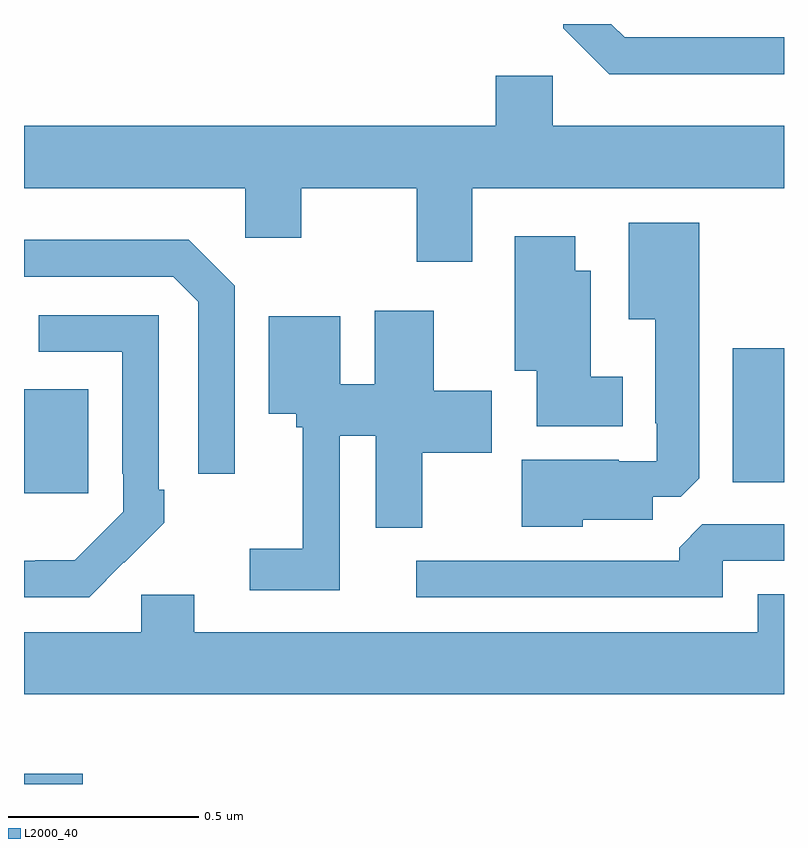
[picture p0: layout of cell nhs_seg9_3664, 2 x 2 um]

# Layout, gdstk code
import gdstk
lib = gdstk.Library(unit=1e-6, precision=1e-09)
def R(c, l, rs):  # rectangles x0, y0, x1, y1
    for r in rs: c.add(gdstk.rectangle(r[:2], r[2:], *l))
def P(c, l, *ps):  # polygons
    for p in ps: c.add(gdstk.Polygon(p, *l))
L2000_40 = (2000, 40)

nhs_seg9_3664 = lib.new_cell('nhs_seg9_3664')
R(nhs_seg9_3664, L2000_40, [(156,1213.5,156.154,1213.527), (156,1214.265,156.169,1214.539), (157.865,1214.294,158,1214.647)])
P(nhs_seg9_3664, L2000_40, [(158,1215.465),(157.581,1215.465),(157.546,1215.5),(157.419,1215.5),(157.419,1215.489),(157.54,1215.368),(158,1215.368)],
  [(157.18,1215.068),(158,1215.068),(158,1215.232),(157.392,1215.232),(157.392,1215.364),(157.241,1215.364),(157.241,1215.232),(156,1215.232),(156,1215.068),(156.582,1215.068),(156.582,1214.937),(156.729,1214.937),(156.729,1215.068),(157.033,1215.068),(157.033,1214.874),(157.18,1214.874)],
  [(157.47,1214.195),(157.654,1214.195),(157.654,1214.256),(157.728,1214.256),(157.777,1214.305),(157.777,1214.977),(157.592,1214.977),(157.592,1214.723),(157.661,1214.723),(157.661,1214.449),(157.665,1214.449),(157.665,1214.349),(157.565,1214.349),(157.565,1214.353),(157.31,1214.353),(157.31,1214.177),(157.47,1214.177)],
  [(157.576,1214.572),(157.492,1214.572),(157.492,1214.851),(157.45,1214.851),(157.45,1214.941),(157.292,1214.941),(157.292,1214.588),(157.349,1214.588),(157.349,1214.441),(157.576,1214.441)],
  [(156.555,1214.811),(156.434,1214.932),(156,1214.932),(156,1214.835),(156.393,1214.835),(156.459,1214.769),(156.459,1214.316),(156.555,1214.316)],
  [(156.831,1214.416),(156.926,1214.416),(156.926,1214.175),(157.048,1214.175),(157.048,1214.372),(157.231,1214.372),(157.231,1214.535),(157.078,1214.535),(157.078,1214.746),(156.923,1214.746),(156.923,1214.552),(156.832,1214.552),(156.832,1214.731),(156.644,1214.731),(156.644,1214.474),(156.716,1214.474),(156.716,1214.439),(156.734,1214.439),(156.734,1214.119),(156.594,1214.119),(156.594,1214.01),(156.831,1214.01)],
  [(156.263,1214.083),(156.264,1214.082),(156.369,1214.187),(156.369,1214.275),(156.354,1214.275),(156.354,1214.733),(156.039,1214.733),(156.039,1214.637),(156.258,1214.637),(156.258,1214.317),(156.261,1214.317),(156.261,1214.217),(156.133,1214.089),(156.029,1214.089),(156.029,1214.088),(156,1214.088),(156,1213.992),(156.172,1213.992)],
  [(157.839,1214.088),(158,1214.088),(158,1214.184),(157.785,1214.184),(157.724,1214.122),(157.724,1214.088),(157.032,1214.088),(157.032,1213.992),(157.839,1213.992)],
  [(158,1213.999),(157.931,1213.999),(157.931,1213.9),(156.448,1213.9),(156.448,1213.998),(156.309,1213.998),(156.309,1213.9),(156,1213.9),(156,1213.736),(158,1213.736)])

lib.write_gds('nhs_seg9_3664.gds')
